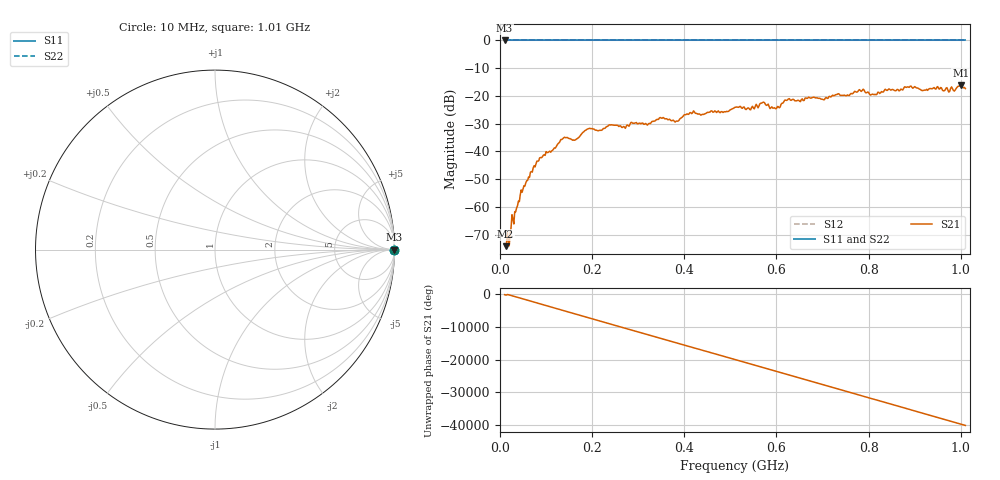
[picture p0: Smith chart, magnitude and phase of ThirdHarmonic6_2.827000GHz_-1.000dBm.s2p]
! 8/17/2025 7:31:06 AM
! C:\ANRITSUVNA\TEMP\TEMP.S2P
! CHANNEL.1
! TR.MEASUREMENT
! RAW.DATA
! RF.CORRECTION.OFF
! AVERAGING.OFF
! IF.BANDWIDTH: 5KHZ
! SWEEPTYPE:  FREQ.SWEEP(Linear)
! Reference Plane Port Info
! PORT:  PORT1  PORT2
! DISTANCE:  0  m  0  m
! TIME:  0  s  0  s
! PHASE.OFFSET:  0  deg.  0  deg.
! LOSS:  0  dB  0  dB
! REF.LOSS:  0  dB  0  dB
! REF.FREQ:  0  Hz  0  Hz
! Power Info
! POWER:  -20  dBm  -20  dBm
! EFF.POWER:  -20  dBm  -20  dBm
! SOURCE.ATTEN:  0  dB  0  dB
! TEST.ATTEN:  0  dB  0  dB
# GHZ S RI R 50.0
! FREQ.GHZ  S11RE  S11IM  S21RE  S21IM  S12RE  S12IM  S22RE  S22IM
!; PortSelection: Port_12
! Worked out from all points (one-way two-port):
!   501 points, 10 MHz to 1.01 GHz, reference 50 ohm
!   highest |S21| = -16.10 dB at 1 GHz (marker M1); lowest = -74.2 dB at 12 MHz (marker M2)
!   lowest |S11| = 0.0 dB at 10 MHz (marker M3)
!   |S11| at or under -10 dB: nowhere
!   |S22| runs from 0.0 to 0.0 dB; largest |S21 - S12| = 1.2
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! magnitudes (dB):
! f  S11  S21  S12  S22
! 10 MHz  0.0  -73.7  0.0  0.0
! 12 MHz  0.0  -74.2  0.0  0.0
! 18 MHz  0.0  -72.4  0.0  0.0
! 28 MHz  0.0  -64.3  0.0  0.0
! 48 MHz  0.0  -54.7  0.0  0.0
! 82 MHz  0.0  -43.5  0.0  0.0
! 136 MHz  0.0  -35.4  0.0  0.0
! 162 MHz  0.0  -36.0  0.0  0.0
! 178 MHz  0.0  -33.5  0.0  0.0
! 192 MHz  0.0  -31.8  0.0  0.0
! 344 MHz  0.0  -28.5  0.0  0.0
! 384 MHz  0.0  -29.0  0.0  0.0
! 416 MHz  0.0  -26.4  0.0  0.0
! 510 MHz  0.0  -24.1  0.0  0.0
! 540 MHz  0.0  -24.4  0.0  0.0
! 570 MHz  0.0  -22.3  0.0  0.0
! 596 MHz  0.0  -24.3  0.0  0.0
! 624 MHz  0.0  -21.4  0.0  0.0
! 678 MHz  0.0  -20.6  0.0  0.0
! 844 MHz  0.0  -17.5  0.0  0.0
! 1 GHz  0.0  -16.1  0.0  0.0
! 1.01 GHz  0.0  -17.4  0.0  0.0
